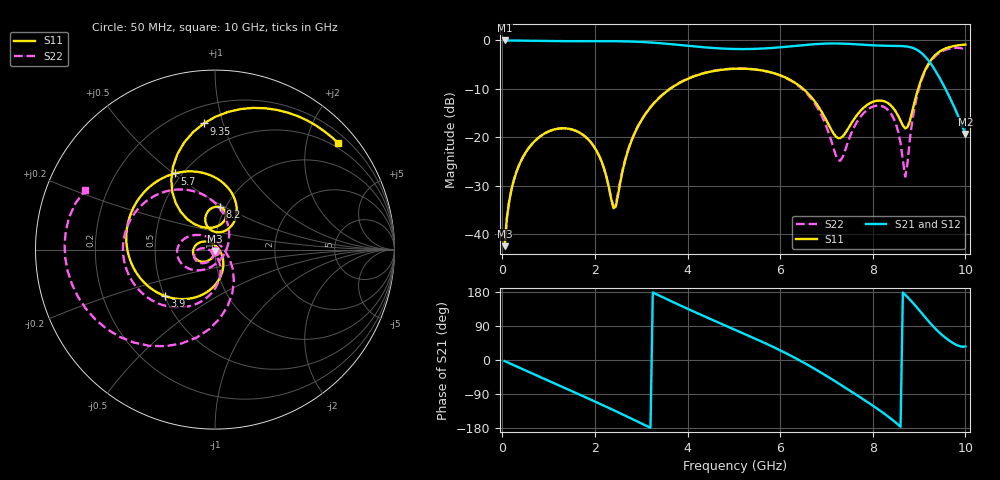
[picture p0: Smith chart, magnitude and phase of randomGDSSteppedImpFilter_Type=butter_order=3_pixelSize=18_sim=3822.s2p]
! freq	dB(S11)	phase(S11)	dB(S12)	phase(S12)
!  dB(S21)	phase(S21)	dB(S22)	phase(S22)
!S-par simulation data
#  GHz  S  DB  R 50
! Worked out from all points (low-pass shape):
!   200 points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, 50 MHz to 10 GHz, reference 50 ohm
!   highest |S21| = 0.00 dB at 50 MHz (marker M1); lowest = -19.3 dB at 10 GHz (marker M2)
!   |S21| within 3 dB of the highest: start of sweep to 9.098 GHz
!   lowest |S11| = -42.5 dB at 50 MHz (marker M3), VSWR 1.02, Z = 50 - j0.749 ohm
!   |S11| at or under -10 dB: start of sweep to 3.624 GHz; 6.496 GHz to 8.981 GHz (2.485 GHz wide, 32.1 % of centre)
!   |S22| runs from -42.5 to -1.5 dB; largest |S21 - S12| = 0
!   S11 on the Smith chart (normalised r, x): 50 MHz: 1.00, -0.01; 3.9 GHz: 0.50, -0.30; 5.7 GHz: 0.46, +0.50; 8.2 GHz: 0.94, +0.47; 9.35 GHz: 0.31, +0.87; 10 GHz: 0.39, +2.64
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0.05  -42.50 -91.4  -0.00 -2.8  -0.00 -2.8  -42.50 -91.1
0.2  -30.71 -101.6  -0.02 -11.1  -0.02 -11.1  -30.71 -99.9
0.55  -22.51 -123.0  -0.07 -30.3  -0.07 -30.3  -22.50 -118.4
1.75  -19.56 163.2  -0.16 -95.6  -0.16 -95.6  -19.58 -175.9
2.15  -25.15 129.9  -0.15 -117.9  -0.15 -117.9  -25.21 173.5
2.4  -34.65 56.8  -0.16 -132.2  -0.16 -132.2  -34.31 -139.6
2.8  -20.50 -60.5  -0.23 -155.4  -0.23 -155.4  -20.36 -72.5
3.4  -11.75 -105.1  -0.56 169.4  -0.56 169.4  -11.68 -97.7
3.9  -8.41 -137.0  -1.00 140.7  -1.00 140.7  -8.35 -122.5
5.05  -5.84 155.5  -1.77 78.6  -1.77 78.6  -5.81 -177.9
5.7  -6.37 117.9  -1.63 43.1  -1.63 43.1  -6.38 149.7
6.7  -12.02 61.0  -0.80 -20.1  -0.80 -20.1  -12.40 85.3
7.3  -20.17 87.6  -0.64 -64.8  -0.64 -64.8  -24.83 -40.0
7.75  -14.40 106.1  -0.86 -100.1  -0.86 -100.1  -15.59 -137.2
8.2  -12.46 82.9  -1.08 -137.3  -1.08 -137.3  -13.58 178.8
8.35  -13.10 75.2  -1.11 -150.9  -1.11 -150.9  -14.57 163.1
8.55  -15.62 72.3  -1.13 -170.8  -1.13 -170.8  -18.89 134.6
8.7  -18.18 94.1  -1.21 172.2  -1.21 172.2  -28.16 55.3
8.95  -11.01 132.3  -1.92 139.0  -1.92 139.0  -11.73 -68.1
9.35  -3.03 95.0  -6.22 82.8  -6.22 82.8  -3.26 -131.1
9.7  -1.27 62.1  -12.55 47.3  -12.55 47.3  -1.63 -171.6
10  -0.84 40.8  -19.32 35.8  -19.32 35.8  -1.98 155.5
